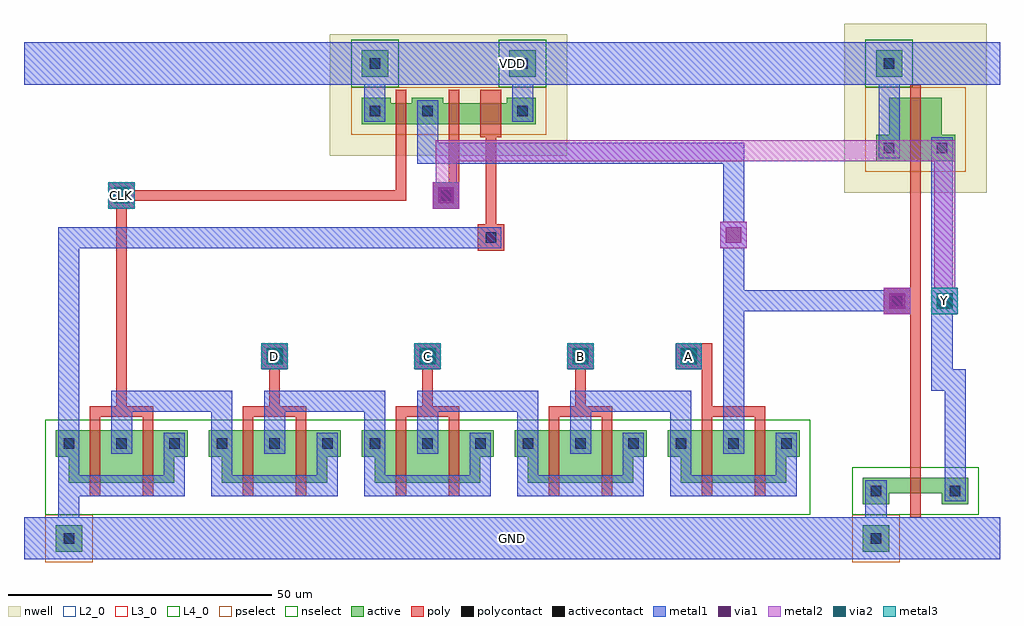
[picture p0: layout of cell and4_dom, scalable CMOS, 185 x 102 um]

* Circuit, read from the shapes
.subckt and4_dom A B C CLK D GND VDD Y
M1 n1 CLK GND GND nfet w=10u l=2u m=2
M2 n2 D n1 GND nfet w=10u l=2u m=2
M3 n3 C n2 GND nfet w=10u l=2u m=2
M4 n4 B n3 GND nfet w=10u l=2u m=2
M5 inv_hskew_0/X A n4 GND nfet w=10u l=2u m=2
M6 Y inv_hskew_0/X GND GND nfet w=3u l=2u
M7 inv_hskew_0/X CLK VDD VDD pfet w=4u l=2u
M8 n5 Y inv_hskew_0/X VDD pfet w=4u l=2u
M9 VDD GND n5 VDD pfet w=4u l=4u
M10 Y inv_hskew_0/X VDD VDD pfet w=12u l=2u
.ends

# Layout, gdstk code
import gdstk
lib = gdstk.Library(unit=1e-6, precision=1e-09)
def R(c, l, rs):  # rectangles x0, y0, x1, y1
    for r in rs: c.add(gdstk.rectangle(r[:2], r[2:], *l))
def A(c, l, x, y, w, h, nx, ny, dx, dy):  # array of equal rectangles
    R(c, l, [(x+i*dx, y+j*dy, x+i*dx+w, y+j*dy+h) for i in range(nx) for j in range(ny)])
def P(c, l, *ps):  # polygons
    for p in ps: c.add(gdstk.Polygon(p, *l))
L2_0 = (2, 0)
L3_0 = (3, 0)
L4_0 = (4, 0)
nwell = (42, 0)
active = (43, 0)
pselect = (44, 0)
nselect = (45, 0)
poly = (46, 0)
polycontact = (47, 0)
activecontact = (48, 0)
metal1 = (49, 0)
via1 = (50, 0)
metal2 = (51, 0)
via2 = (61, 0)
metal3 = (62, 0)

inv_hskew = lib.new_cell('inv_hskew')
R(inv_hskew, L2_0, [(-11,-94.5,21,-86.5), (-11,-4.5,21,3.5)])
R(inv_hskew, L3_0, [(-1,-48,4,-43), (8,-48,13,-43)])
R(inv_hskew, nwell, [(-8.5,-25,18.5,7)])
R(inv_hskew, active, [(-5,-93,0,-88), (-2.5,-3,2.5,2)])
P(inv_hskew, active, [(-5,-84),(0,-84),(0,-82),(10,-82),(10,-84),(15,-84),(15,-79),(-5,-79)],
  [(-2.5,-19),(12.5,-19),(12.5,-14),(10,-14),(10,-7),(0,-7),(0,-14),(-2.5,-14)])
R(inv_hskew, pselect, [(-7,-95,2,-86), (-4.5,-21,14.5,-5)])
R(inv_hskew, nselect, [(-7,-86,17,-77), (-4.5,-5,4.5,4)])
R(inv_hskew, poly, [(4,-86.5,6,-78), (-1,-48,4,-43), (4,-13,6,-4.5)])
R(inv_hskew, polycontact, [(0.5,-46.5,2.5,-44.5)])
R(inv_hskew, activecontact, [(-3.5,-91.5,-1.5,-89.5), (-3.5,-82.5,-1.5,-80.5), (11.5,-82.5,13.5,-80.5), (-1,-17.5,1,-15.5), (9,-17.5,11,-15.5), (-1,-1.5,1,0.5)])
R(inv_hskew, metal1, [(-11,-94.5,21,-86.5), (-4.5,-92.5,-0.5,-88.5), (-4.5,-83.5,-0.5,-79.5), (10.5,-83.5,14.5,-79.5), (-1,-48,4,-43), (8,-48,13,-43), (-2,-18.5,2,-14.5), (8,-18.5,12,-14.5), (-11,-4.5,21,3.5), (-2,-2.5,2,1.5)])
R(inv_hskew, via1, [(0,-47,3,-44), (9,-47,12,-44)])
R(inv_hskew, metal2, [(-1,-48,4,-43), (8,-48,13,-43)])
inv_hskew.add(gdstk.FlexPath([(5,-13),(5,-78)], 2, ends="flush", simple_path=True, layer=46, datatype=0))  # poly
inv_hskew.add(gdstk.FlexPath([(10,-48),(10,-60.5),(12.5,-60.5),(12.5,-79.5)], 4, ends="flush", simple_path=True, layer=49, datatype=0))  # metal1
inv_hskew.add(gdstk.FlexPath([(-2.5,-83.5),(-2.5,-88.5)], 4, ends="flush", simple_path=True, layer=49, datatype=0))  # metal1
inv_hskew.add(gdstk.FlexPath([(0,-14.5),(0,-2.5)], 4, ends="flush", simple_path=True, layer=49, datatype=0))  # metal1
inv_hskew.add(gdstk.FlexPath([(10,-18.5),(10,-43)], 4, ends="flush", simple_path=True, layer=49, datatype=0))  # metal1
inv_hskew.add(gdstk.Label('VDD', (5,-0.5), layer=2, texttype=0))
inv_hskew.add(gdstk.Label('GND', (5,-90.5), layer=2, texttype=0))
inv_hskew.add(gdstk.Label('X', (1.5,-45.5), layer=3, texttype=0))
inv_hskew.add(gdstk.Label('Y', (10.5,-45.5), layer=3, texttype=0))

nand4_dyn = lib.new_cell('nand4_dyn')
R(nand4_dyn, L2_0, [(-58,-99.5,95,-91.5), (-58,-9.5,95,-1.5)])
A(nand4_dyn, L3_0, -13, -63.5, 5, 5, 3, 1, 29, 0)
R(nand4_dyn, L3_0, [(65.5,-63.5,70.5,-58.5), (74,-40.5,79,-35.5), (-42,-33,-37,-28), (19.5,-33,24.5,-28)])
R(nand4_dyn, nwell, [(0,-23,45,0)])
R(nand4_dyn, active, [(-52,-98,-47,-93), (6,-8,11,-3), (34,-8,39,-3)])
P(nand4_dyn, active, [(6,-17),(39,-17),(39,-12),(33.5,-12),(33.5,-13),(21.5,-13),(21.5,-12),(15.5,-12),(15.5,-13),(11.5,-13),(11.5,-12),(6,-12)],
  [(35,-80),(37.5,-80),(37.5,-85),(57.5,-85),(57.5,-80),(60,-80),(60,-75),(35,-75)],
  [(-52,-80),(-49.5,-80),(-49.5,-85),(-29.5,-85),(-29.5,-80),(-27,-80),(-27,-75),(-52,-75)],
  [(-23,-80),(-20.5,-80),(-20.5,-85),(-0.5,-85),(-0.5,-80),(2,-80),(2,-75),(-23,-75)],
  [(6,-80),(8.5,-80),(8.5,-85),(28.5,-85),(28.5,-80),(31,-80),(31,-75),(6,-75)],
  [(64,-80),(66.5,-80),(66.5,-85),(86.5,-85),(86.5,-80),(89,-80),(89,-75),(64,-75)])
R(nand4_dyn, pselect, [(-54,-100,-45,-91), (4,-19,41,-10)])
R(nand4_dyn, nselect, [(-54,-91,91,-73), (4,-10,13,-1), (32,-10,41,-1)])
A(nand4_dyn, poly, -13, -63.5, 5, 5, 3, 1, 29, 0)
R(nand4_dyn, poly, [(-45.5,-87.5,-43.5,-72.5), (-35.5,-87.5,-33.5,-72.5), (-16.5,-87.5,-14.5,-72.5), (-6.5,-87.5,-4.5,-72.5), (12.5,-87.5,14.5,-72.5), (22.5,-87.5,24.5,-72.5), (41.5,-87.5,43.5,-72.5), (51.5,-87.5,53.5,-72.5), (70.5,-87.5,72.5,-72.5), (80.5,-87.5,82.5,-72.5), (65.5,-63.5,70.5,-58.5), (28,-41,33,-36), (-42,-33,-37,-28), (19.5,-33,24.5,-28), (12.5,-19.5,14.5,-10.5), (22.5,-19.5,24.5,-10.5), (28.5,-19.5,32.5,-10.5)])
A(nand4_dyn, polycontact, -11.5, -62, 2, 2, 3, 1, 29, 0)
R(nand4_dyn, polycontact, [(67,-62,69,-60), (29.5,-39.5,31.5,-37.5), (-40.5,-31.5,-38.5,-29.5), (21,-31.5,23,-29.5)])
A(nand4_dyn, activecontact, -50.5, -78.5, 2, 2, 3, 1, 10, 0)
A(nand4_dyn, activecontact, -21.5, -78.5, 2, 2, 3, 1, 10, 0)
A(nand4_dyn, activecontact, 7.5, -78.5, 2, 2, 3, 1, 10, 0)
A(nand4_dyn, activecontact, 36.5, -78.5, 2, 2, 3, 1, 10, 0)
A(nand4_dyn, activecontact, 65.5, -78.5, 2, 2, 3, 1, 10, 0)
R(nand4_dyn, activecontact, [(-50.5,-96.5,-48.5,-94.5), (7.5,-15.5,9.5,-13.5), (17.5,-15.5,19.5,-13.5), (35.5,-15.5,37.5,-13.5), (7.5,-6.5,9.5,-4.5), (35.5,-6.5,37.5,-4.5)])
A(nand4_dyn, metal1, -51.5, -79.5, 4, 4, 3, 1, 10, 0)
A(nand4_dyn, metal1, -22.5, -79.5, 4, 4, 3, 1, 10, 0)
A(nand4_dyn, metal1, 6.5, -79.5, 4, 4, 3, 1, 10, 0)
A(nand4_dyn, metal1, 35.5, -79.5, 4, 4, 3, 1, 10, 0)
A(nand4_dyn, metal1, 64.5, -79.5, 4, 4, 3, 1, 10, 0)
A(nand4_dyn, metal1, -13, -63.5, 5, 5, 3, 1, 29, 0)
R(nand4_dyn, metal1, [(-58,-99.5,95,-91.5), (-51.5,-97.5,-47.5,-93.5), (65.5,-63.5,70.5,-58.5), (28.5,-40.5,32.5,-36.5), (74,-40.5,79,-35.5), (-42,-33,-37,-28), (19.5,-33,24.5,-28), (6.5,-16.5,10.5,-12.5), (16.5,-16.5,20.5,-12.5), (34.5,-16.5,38.5,-12.5), (-58,-9.5,95,-1.5), (6.5,-7.5,10.5,-3.5), (34.5,-7.5,38.5,-3.5)])
A(nand4_dyn, via1, -12, -62.5, 3, 3, 3, 1, 29, 0)
R(nand4_dyn, via1, [(66.5,-62.5,69.5,-59.5), (75,-39.5,78,-36.5), (-41,-32,-38,-29), (20.5,-32,23.5,-29)])
A(nand4_dyn, metal2, -13, -63.5, 5, 5, 3, 1, 29, 0)
R(nand4_dyn, metal2, [(65.5,-63.5,70.5,-58.5), (74,-40.5,79,-35.5), (-42,-33,-37,-28), (19.5,-33,24.5,-28)])
nand4_dyn.add(gdstk.FlexPath([(23.5,-19.5),(23.5,-28)], 2, ends="flush", simple_path=True, layer=46, datatype=0))  # poly
nand4_dyn.add(gdstk.FlexPath([(-39.5,-70.5),(-39.5,-63.5)], 2, ends="flush", simple_path=True, layer=46, datatype=0))  # poly
nand4_dyn.add(gdstk.FlexPath([(13.5,-19.5),(13.5,-30.5),(-39.5,-30.5),(-39.5,-63.5)], 2, ends="flush", simple_path=True, layer=46, datatype=0))  # poly
nand4_dyn.add(gdstk.FlexPath([(70.5,-71.5),(82.5,-71.5)], 2, ends="flush", simple_path=True, layer=46, datatype=0))  # poly
nand4_dyn.add(gdstk.FlexPath([(71.5,-70.5),(71.5,-58.5)], 2, ends="flush", simple_path=True, layer=46, datatype=0))  # poly
nand4_dyn.add(gdstk.FlexPath([(30.5,-19.5),(30.5,-36)], 2, ends="flush", simple_path=True, layer=46, datatype=0))  # poly
nand4_dyn.add(gdstk.FlexPath([(-45.5,-71.5),(-33.5,-71.5)], 2, ends="flush", simple_path=True, layer=46, datatype=0))  # poly
nand4_dyn.add(gdstk.FlexPath([(-16.5,-71.5),(-4.5,-71.5)], 2, ends="flush", simple_path=True, layer=46, datatype=0))  # poly
nand4_dyn.add(gdstk.FlexPath([(12.5,-71.5),(24.5,-71.5)], 2, ends="flush", simple_path=True, layer=46, datatype=0))  # poly
nand4_dyn.add(gdstk.FlexPath([(41.5,-71.5),(53.5,-71.5)], 2, ends="flush", simple_path=True, layer=46, datatype=0))  # poly
nand4_dyn.add(gdstk.FlexPath([(-10.5,-70.5),(-10.5,-63.5)], 2, ends="flush", simple_path=True, layer=46, datatype=0))  # poly
nand4_dyn.add(gdstk.FlexPath([(18.5,-70.5),(18.5,-63.5)], 2, ends="flush", simple_path=True, layer=46, datatype=0))  # poly
nand4_dyn.add(gdstk.FlexPath([(47.5,-70.5),(47.5,-63.5)], 2, ends="flush", simple_path=True, layer=46, datatype=0))  # poly
nand4_dyn.add(gdstk.FlexPath([(16.5,-22.5),(76.5,-22.5),(76.5,-24.5)], 4, ends="flush", simple_path=True, layer=49, datatype=0))  # metal1
nand4_dyn.add(gdstk.FlexPath([(8.5,-12.5),(8.5,-7.5)], 4, ends="flush", simple_path=True, layer=49, datatype=0))  # metal1
nand4_dyn.add(gdstk.FlexPath([(47.5,-75.5),(47.5,-69.5),(66.5,-69.5),(66.5,-75.5)], 4, ends="flush", simple_path=True, layer=49, datatype=0))  # metal1
nand4_dyn.add(gdstk.FlexPath([(76.5,-40.5),(76.5,-75.5)], 4, ends="flush", simple_path=True, layer=49, datatype=0))  # metal1
nand4_dyn.add(gdstk.FlexPath([(76.5,-35.5),(76.5,-24.5)], 4, ends="flush", simple_path=True, layer=49, datatype=0))  # metal1
nand4_dyn.add(gdstk.FlexPath([(18.5,-16.5),(18.5,-20.5)], 4, ends="flush", simple_path=True, layer=49, datatype=0))  # metal1
nand4_dyn.add(gdstk.FlexPath([(57.5,-79.5),(57.5,-85.5),(37.5,-85.5),(37.5,-79.5)], 4, ends="flush", simple_path=True, layer=49, datatype=0))  # metal1
nand4_dyn.add(gdstk.FlexPath([(36.5,-12.5),(36.5,-7.5)], 4, ends="flush", simple_path=True, layer=49, datatype=0))  # metal1
nand4_dyn.add(gdstk.FlexPath([(-29.5,-79.5),(-29.5,-85.5),(-49.5,-85.5),(-49.5,-79.5)], 4, ends="flush", simple_path=True, layer=49, datatype=0))  # metal1
nand4_dyn.add(gdstk.FlexPath([(-0.5,-79.5),(-0.5,-85.5),(-20.5,-85.5),(-20.5,-79.5)], 4, ends="flush", simple_path=True, layer=49, datatype=0))  # metal1
nand4_dyn.add(gdstk.FlexPath([(28.5,-79.5),(28.5,-85.5),(8.5,-85.5),(8.5,-79.5)], 4, ends="flush", simple_path=True, layer=49, datatype=0))  # metal1
nand4_dyn.add(gdstk.FlexPath([(86.5,-79.5),(86.5,-85.5),(66.5,-85.5),(66.5,-79.5)], 4, ends="flush", simple_path=True, layer=49, datatype=0))  # metal1
nand4_dyn.add(gdstk.FlexPath([(28.5,-38.5),(-49.5,-38.5),(-49.5,-75.5)], 4, ends="flush", simple_path=True, layer=49, datatype=0))  # metal1
nand4_dyn.add(gdstk.FlexPath([(-39.5,-75.5),(-39.5,-69.5),(-20.5,-69.5),(-20.5,-75.5)], 4, ends="flush", simple_path=True, layer=49, datatype=0))  # metal1
nand4_dyn.add(gdstk.FlexPath([(-10.5,-75.5),(-10.5,-69.5),(8.5,-69.5),(8.5,-75.5)], 4, ends="flush", simple_path=True, layer=49, datatype=0))  # metal1
nand4_dyn.add(gdstk.FlexPath([(18.5,-75.5),(18.5,-69.5),(37.5,-69.5),(37.5,-75.5)], 4, ends="flush", simple_path=True, layer=49, datatype=0))  # metal1
nand4_dyn.add(gdstk.FlexPath([(-49.5,-87.5),(-49.5,-93.5)], 4, ends="flush", simple_path=True, layer=49, datatype=0))  # metal1
nand4_dyn.add(gdstk.Label('VDD', (18.5,-5.5), layer=2, texttype=0))
nand4_dyn.add(gdstk.Label('GND', (18.5,-95.5), layer=2, texttype=0))
nand4_dyn.add(gdstk.Label('CLK', (-39.5,-30.5), layer=3, texttype=0))
nand4_dyn.add(gdstk.Label('D', (-10.5,-61), layer=3, texttype=0))
nand4_dyn.add(gdstk.Label('C', (18.5,-61), layer=3, texttype=0))
nand4_dyn.add(gdstk.Label('B', (47.5,-61), layer=3, texttype=0))
nand4_dyn.add(gdstk.Label('A', (68,-61), layer=3, texttype=0))
nand4_dyn.add(gdstk.Label('X', (76.5,-38), layer=3, texttype=0))
nand4_dyn.add(gdstk.Label('Y', (22,-30.5), layer=3, texttype=0))

and4_dom = lib.new_cell('and4_dom')
R(and4_dom, L2_0, [(-164,-94.5,21,-86.5), (-164,-4.5,21,3.5)])
A(and4_dom, L4_0, -119, -58.5, 5, 5, 3, 1, 29, 0)
R(and4_dom, L4_0, [(-40.5,-58.5,-35.5,-53.5), (8,-48,13,-43), (-148,-28,-143,-23)])
A(and4_dom, via2, -118, -57.5, 3, 3, 3, 1, 29, 0)
R(and4_dom, via2, [(-39.5,-57.5,-36.5,-54.5), (9,-47,12,-44), (-147,-27,-144,-24)])
A(and4_dom, metal3, -119, -58.5, 5, 5, 3, 1, 29, 0)
R(and4_dom, metal3, [(-40.5,-58.5,-35.5,-53.5), (8,-48,13,-43), (-148,-28,-143,-23)])
and4_dom.add(gdstk.FlexPath([(-1,-45.5),(-27.5,-45.5)], 4, ends="flush", simple_path=True, layer=49, datatype=0))  # metal1
and4_dom.add(gdstk.FlexPath([(10.5,-43),(10.5,-17),(-84,-17),(-84,-23)], 4, ends="flush", simple_path=True, layer=51, datatype=0))  # metal2
and4_dom.add(gdstk.Reference(inv_hskew, (0,0)))
and4_dom.add(gdstk.Reference(nand4_dyn, (-106,5)))
and4_dom.add(gdstk.Label('CLK', (-145.5,-25.5), layer=4, texttype=0))
and4_dom.add(gdstk.Label('D', (-116.5,-56), layer=4, texttype=0))
and4_dom.add(gdstk.Label('C', (-87.5,-56), layer=4, texttype=0))
and4_dom.add(gdstk.Label('B', (-58.5,-56), layer=4, texttype=0))
and4_dom.add(gdstk.Label('A', (-38,-56), layer=4, texttype=0))
and4_dom.add(gdstk.Label('Y', (10.5,-45.5), layer=4, texttype=0))
and4_dom.add(gdstk.Label('VDD', (-71.5,-0.5), layer=2, texttype=0))
and4_dom.add(gdstk.Label('GND', (-71.5,-90.5), layer=2, texttype=0))

lib.write_gds('and4_dom.gds')
